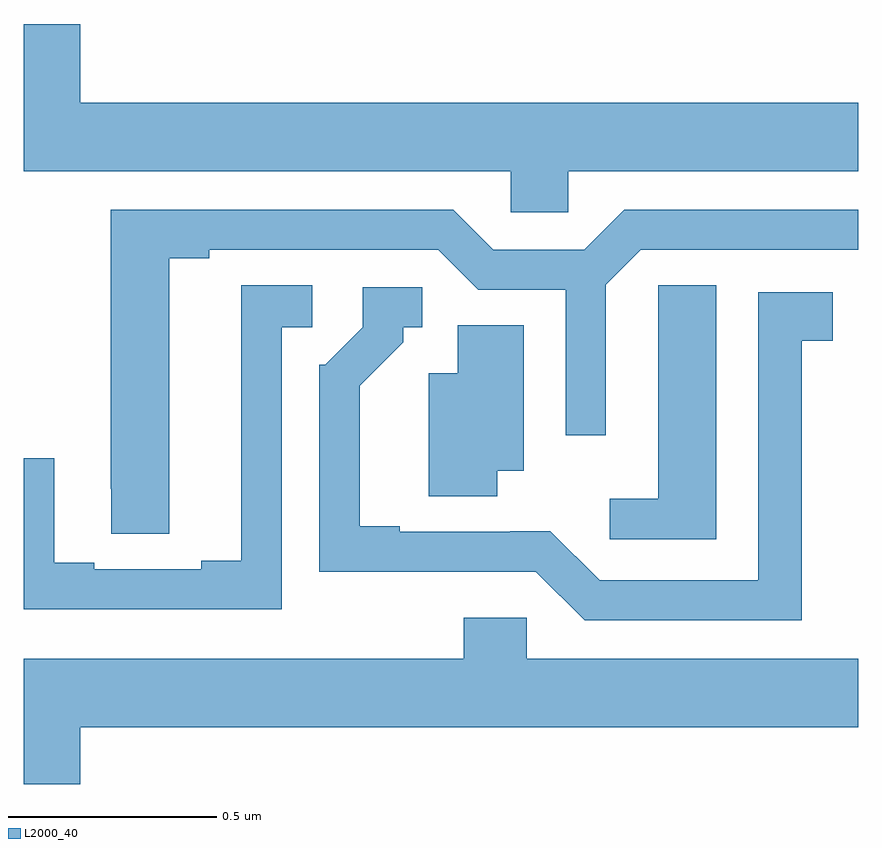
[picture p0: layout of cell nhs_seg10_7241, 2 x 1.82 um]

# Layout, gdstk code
import gdstk
lib = gdstk.Library(unit=1e-6, precision=1e-09)
def P(c, l, *ps):  # polygons
    for p in ps: c.add(gdstk.Polygon(p, *l))
L2000_40 = (2000, 40)

nhs_seg10_7241 = lib.new_cell('nhs_seg10_7241')
P(nhs_seg10_7241, L2000_40, [(201.136,1315.321),(201,1315.321),(201,1314.968),(202.167,1314.968),(202.167,1314.87),(202.305,1314.87),(202.305,1314.968),(203,1314.968),(203,1315.132),(201.136,1315.132)],
  [(201.349,1314.76),(201.445,1314.76),(201.445,1314.78),(201.993,1314.78),(202.089,1314.684),(202.299,1314.684),(202.299,1314.336),(202.395,1314.336),(202.395,1314.696),(202.479,1314.78),(203,1314.78),(203,1314.876),(202.439,1314.876),(202.343,1314.78),(202.125,1314.78),(202.029,1314.876),(201.209,1314.876),(201.209,1314.208),(201.21,1314.208),(201.21,1314.1),(201.349,1314.1)],
  [(202.66,1314.695),(202.521,1314.695),(202.521,1314.587),(202.52,1314.587),(202.52,1314.184),(202.404,1314.184),(202.404,1314.087),(202.66,1314.087)],
  [(201.618,1314.594),(201.691,1314.594),(201.691,1314.695),(201.521,1314.695),(201.521,1314.035),(201.425,1314.035),(201.425,1314.015),(201.169,1314.015),(201.169,1314.03),(201.073,1314.03),(201.073,1314.281),(201,1314.281),(201,1313.919),(201.618,1313.919)],
  [(202.864,1314.562),(202.939,1314.562),(202.939,1314.678),(202.76,1314.678),(202.76,1313.988),(202.38,1313.988),(202.262,1314.106),(202.166,1314.106),(202.166,1314.105),(201.901,1314.105),(201.901,1314.118),(201.805,1314.118),(201.805,1314.454),(201.91,1314.559),(201.91,1314.594),(201.955,1314.594),(201.955,1314.69),(201.813,1314.69),(201.813,1314.594),(201.723,1314.504),(201.708,1314.504),(201.708,1314.008),(201.971,1314.008),(201.971,1314.009),(202.227,1314.009),(202.344,1313.892),(202.864,1313.892)],
  [(202.135,1314.251),(202.198,1314.251),(202.198,1314.599),(202.04,1314.599),(202.04,1314.484),(201.971,1314.484),(201.971,1314.19),(202.135,1314.19)],
  [(201.136,1313.636),(203,1313.636),(203,1313.8),(202.206,1313.8),(202.206,1313.898),(202.055,1313.898),(202.055,1313.8),(201,1313.8),(201,1313.5),(201.136,1313.5)])

lib.write_gds('nhs_seg10_7241.gds')
